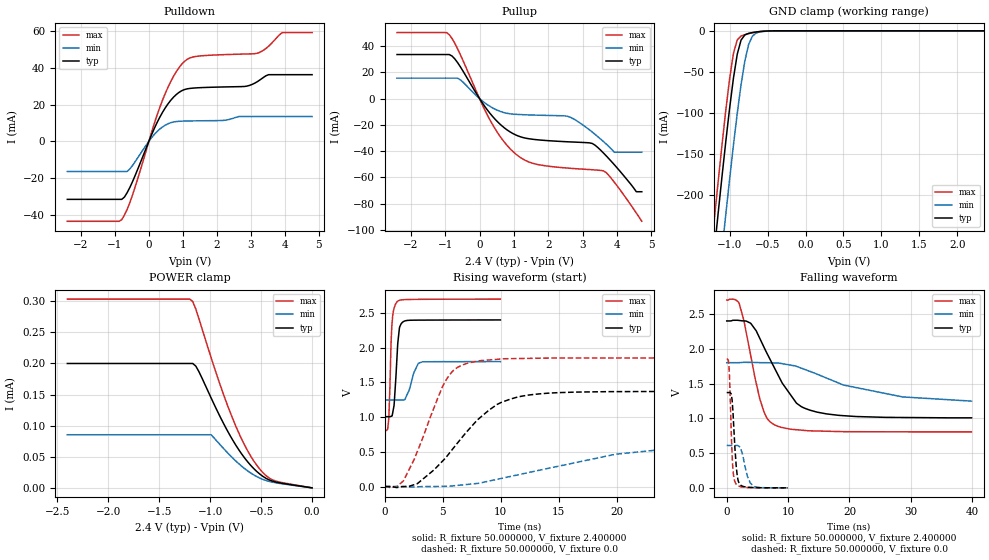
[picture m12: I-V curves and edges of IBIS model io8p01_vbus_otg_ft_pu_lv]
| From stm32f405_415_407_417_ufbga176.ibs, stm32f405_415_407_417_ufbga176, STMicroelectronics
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|   Model io8p01_vbus_otg_ft_pu_lv
[Model]  io8p01_vbus_otg_ft_pu_lv
Model_type I/O
Polarity   Non-Inverting
Enable   Active-Low
Vinl =   0.720000V
Vinh =   1.680000V
Vmeas =  1.200000V
Cref =   50.000000pF
Rref =   100.000000M
Vref =   0.0V
C_comp   3.193600pF   3.100000pF   3.332100pF
[Temperature Range]   25.000000   0.125000k   -40.000000
[Pullup Reference]   2.400000V   1.800000V   2.700000V
[Pulldown Reference]   0.0V   0.0V   0.0V
[POWER Clamp Reference]   2.400000V   1.800000V   2.700000V
[GND Clamp Reference]   0.0V   0.0V   0.0V
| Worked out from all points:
|   slope of the pulldown table from 0 to 0.36 V, typ, clamps not added: 25 ohm
|   slope of the pullup table from 0 to 0.36 V, typ, clamps not added: 27.7 ohm
|   GND clamp passes 1 mA (typ) near -0.61 V on its own axis
|   rising waveform, R_fixture 50.000000, V_fixture 2.400000: 20-80 % time 309ps typ, 629ps min, 223ps max; typ from 1.01 V to 2.4 V
|   rising waveform, R_fixture 50.000000, V_fixture 0.0: 20-80 % time 4.51ns typ, 11ns min, 2.64ns max; typ from 0.001 V to 1.37 V
|   falling waveform, R_fixture 50.000000, V_fixture 2.400000: 20-80 % time 5.28ns typ, 12.7ns min, 2.76ns max; typ from 2.4 V to 1.01 V
|   falling waveform, R_fixture 50.000000, V_fixture 0.0: 20-80 % time 576ps typ, 1.04ns min, 436ps max; typ from 1.37 V to 0.001 V
[Pulldown]
|Voltage   I(typ)   I(min)   I(max)
-2.4V     -31.69mA   -16.5mA    -43.66mA
-800mV    -31.69mA   -16.5mA    -42.82mA
-480mV    -21.96mA   -13.17mA   -29.19mA
80mV      3.63mA     1.966mA    5.014mA
480mV     18.16mA    8.738mA    26.02mA
800mV     25.38mA    10.72mA    37.77mA
1.12V     28.53mA    11.02mA    44.6mA
2.8V      29.84mA    13.46mA    47.53mA
3.2V      32.6mA     13.46mA    48.03mA
3.52V     36.28mA    13.46mA    51.75mA
3.92V     36.28mA    13.46mA    59.24mA
4.8V      36.28mA    13.46mA    59.24mA
[Pullup]
|Voltage   I(typ)   I(min)   I(max)
-2.4V     33.5mA     15.55mA    50.22mA
-960mV    33.5mA     15.55mA    50.22mA
-560mV    24.27mA    14.29mA    33.52mA
320mV     -11.75mA   -6.207mA   -17.08mA
960mV     -26.47mA   -11.82mA   -40.02mA
1.52V     -30.88mA   -12.51mA   -49.05mA
2.56V     -32.88mA   -13.49mA   -52.9mA
3.28V     -34.19mA   -25.52mA   -54.18mA
3.6V      -41.31mA   -32.62mA   -54.98mA
3.92V     -50.32mA   -40.8mA    -63.62mA
4.56V     -70.9mA    -40.8mA    -87.07mA
4.72V     -70.9mA    -40.8mA    -93.4mA
[GND_clamp]
|Voltage   I(typ)   I(min)   I(max)
-2.4V     -1.425A    -1.509A    -1.394A
-1.25V    -311.3mA   -401.9mA   -273.4mA
-1.2V     -265.5mA   -356.1mA   -227.3mA
-1.15V    -220.5mA   -310.9mA   -182mA
-1.1V     -176.4mA   -266.2mA   -138mA
-1.05V    -133.9mA   -222.5mA   -96.06mA
-950mV    -57.51mA   -139mA     -27.35mA
-900mV    -28.55mA   -100.5mA   -11.03mA
-850mV    -11.33mA   -65.67mA   -6.322mA
-750mV    -3.069mA   -16.69mA   -3.425mA
-600mV    -864.6uA   -1.294mA   -852.2uA
2.35V     0A         0A         0A
[POWER_clamp]
|Voltage   I(typ)   I(min)   I(max)
-2.4V     200uA      85.42uA    303.5uA
-1.2V     200uA      85.42uA    303.5uA
-1.17V    200uA      85.42uA    299.5uA
-1.14V    195.7uA    85.42uA    287.5uA
-990mV    144.6uA    85.42uA    209.3uA
-870mV    104.1uA    63.64uA    150.8uA
-780mV    77.28uA    48.22uA    111.8uA
-660mV    47.71uA    30.77uA    68.21uA
-570mV    30.64uA    20.64uA    42.8uA
-480mV    18.19uA    13.46uA    24.07uA
-390mV    10.91uA    9.255uA    13.01uA
0V        0A         0A         0A
[Ramp]
| variable   typ   min   max
dV/dt_r  0.82225/4.50574n   0.36627/11.20535n   1.11077/2.63350n
dV/dt_f  0.83592/5.28187n   0.32220/13.02593n   1.13647/2.75354n
R_load = 50.000000
[Rising Waveform]
R_fixture= 50.000000
V_fixture= 2.400000
V_fixture_min= 1.800000
V_fixture_max= 2.700000
|time   V(typ)   V(min)   V(max)
0s        1.007V     1.247V     805.7mV
340.3ps   1.007V     1.247V     973.1mV
560.6ps   1.013V     1.247V     2.147V
640.6ps   1.025V     1.247V     2.381V
800.8ps   1.169V     1.247V     2.569V
1.041ns   1.827V     1.247V     2.658V
1.261ns   2.281V     1.247V     2.683V
1.682ns   2.382V     1.249V     2.692V
2.903ns   2.397V     1.777V     2.696V
9.97ns    2.4V       1.8V       2.7V
[Rising Waveform]
R_fixture= 50.000000
V_fixture= 0.0
V_fixture_min= 0.0
V_fixture_max= 0.0
|time   V(typ)   V(min)   V(max)
0s        1.058mV    913.4uV    1.365mV
1.602ns   225.7uV    706.8uV    82.09mV
2.803ns   41.96mV    -4.289mV   502mV
5.125ns   392.2mV    3.934mV    1.487V
5.926ns   556.5mV    11.73mV    1.673V
7.127ns   800.5mV    31.59mV    1.777V
9.69ns    1.183V     105.1mV    1.833V
12.81ns   1.327V     217.5mV    1.847V
26.51ns   1.371V     577.4mV    1.853V
39.88ns   1.371V     610.2mV    1.852V
[Falling Waveform]
R_fixture= 50.000000
V_fixture= 2.400000
V_fixture_min= 1.800000
V_fixture_max= 2.700000
|time   V(typ)   V(min)   V(max)
0s        2.4V       1.8V       2.7V
2.002ns   2.407V     1.801V     2.659V
3.924ns   2.364V     1.805V     1.896V
5.445ns   2.139V     1.801V     1.263V
6.567ns   1.933V     1.8V       1.001V
7.768ns   1.726V     1.796V     908.1mV
11.37ns   1.218V     1.747V     836.4mV
14.73ns   1.089V     1.634V     818.1mV
28.67ns   1.012V     1.308V     806.2mV
39.88ns   1.007V     1.247V     805.7mV
[Falling Waveform]
R_fixture= 50.000000
V_fixture= 0.0
V_fixture_min= 0.0
V_fixture_max= 0.0
|time   V(typ)   V(min)   V(max)
0s        1.371V     610.2mV    1.852V
380.4ps   1.371V     610.2mV    1.725V
860.9ps   1.274V     610mV      506.3mV
1.061ns   1.019V     609.7mV    215mV
1.401ns   489.4mV    610mV      75.65mV
1.742ns   159.6mV    610.8mV    37.26mV
2.342ns   35.42mV    547.5mV    16.14mV
3.343ns   10.1mV     174.4mV    5.974mV
4.444ns   4.743mV    20.67mV    2.875mV
9.97ns    1.058mV    913.4uV    1.365mV
